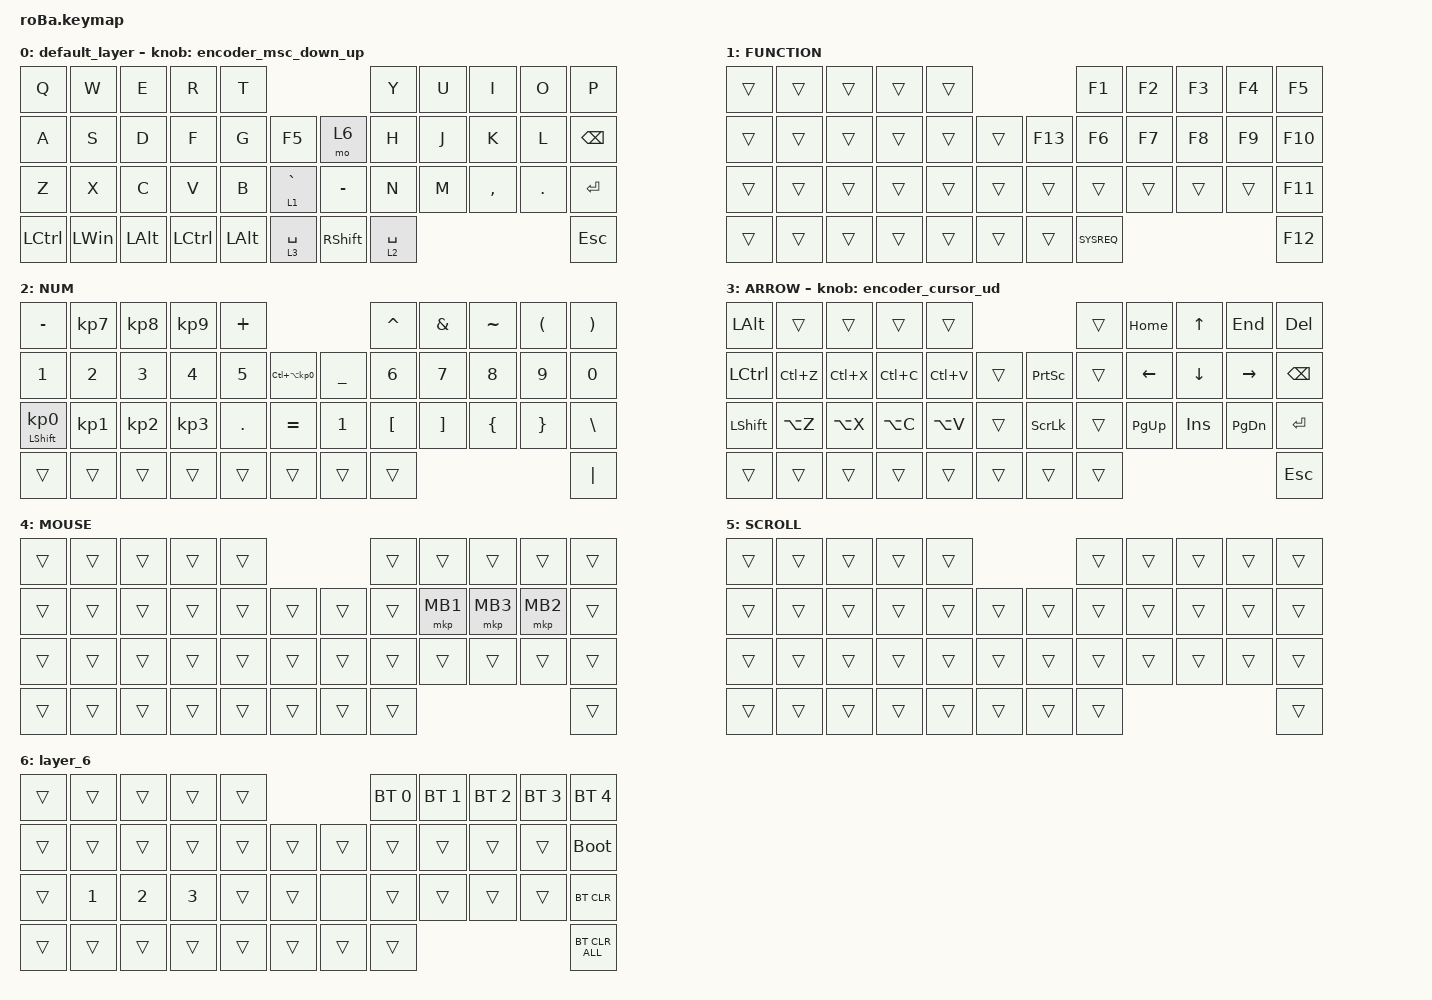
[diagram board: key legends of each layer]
#include <behaviors.dtsi>
#include <dt-bindings/zmk/bt.h>
#include <dt-bindings/zmk/keys.h>
#include <dt-bindings/zmk/pointing.h>

#define ZMK_POINTING_DEFAULT_SCRL_VAL 80

&mt {
    flavor = "balanced";
    quick-tap-ms = <0>;
};

&trackball {
    automouse-layer = <4>;
    scroll-layers = <5>;

    arrows {
        layers = <3>;
        bindings =
            <&kp RIGHT_ARROW>,
            <&kp LEFT_ARROW>,
            <&kp UP_ARROW>,
            <&kp DOWN_ARROW>;
        tick = <10>;
        wait-ms = <5>;
        tap-ms = <5>;
    };
};

/ {
    combos {
        compatible = "zmk,combos";

        tab {
            bindings = <&kp TAB>;
            key-positions = <11 12>;
        };

        shift_tab {
            bindings = <&kp LS(TAB)>;
            key-positions = <12 13>;
        };

        muhennkann {
            bindings = <&to_layer_0 INT_MUHENKAN>;
            key-positions = <11 10>;
        };

        double_quotation {
            bindings = <&kp DOUBLE_QUOTES>;
            key-positions = <20 21>;
        };

        eq {
            bindings = <&kp EQUAL>;
            key-positions = <24 25>;
        };

        ime {
            bindings = <&kp LA(GRAVE)>;
            key-positions = <16 28>;
        };
    };

    macros {
        to_layer_0: to_layer_0 {
            compatible = "zmk,behavior-macro-one-param";
            #binding-cells = <1>;
            bindings = <&to 0 &macro_param_1to1 &kp MACRO_PLACEHOLDER>;
            label = "TO_LAYER_0";
        };
    };

    behaviors {
        lt_to_layer_0: lt_to_layer_0 {
            compatible = "zmk,behavior-hold-tap";
            label = "LAYER_TAP_TO_0";
            bindings = <&mo>, <&to_layer_0>;

            #binding-cells = <2>;
            tapping-term-ms = <200>;
        };
        encoder_msc_down_up: encoder_msc_down_up {
            compatible = "zmk,behavior-sensor-rotate";
            label = "ENCODER_MSC_DOWN_UP";
            #sensor-binding-cells = <0>;
            bindings = <&msc SCRL_DOWN>, <&msc SCRL_UP>;
            tap-ms = <20>;
        };
        encoder_cursor_ud: encoder_cursor_ud {
            compatible = "zmk,behavior-sensor-rotate";
            label = "ENCODER_CURSOR_UP_DOWN";
            #sensor-binding-cells = <0>;
            bindings = <&kp UP_ARROW>, <&kp DOWN_ARROW>;
            tap-ms = <20>;
        };
        encoder_cursor_lr: encoder_cursor_lr {
            compatible = "zmk,behavior-sensor-rotate";
            label = "ENCODER_CURSOR_LEFT_RIGHT";
            #sensor-binding-cells = <0>;
            bindings = <&kp RIGHT_ARROW>, <&kp LEFT_ARROW>;
            tap-ms = <20>;
        };
    };

    keymap {
        compatible = "zmk,keymap";

        default_layer {
            bindings = <
&kp Q      &kp W         &kp E         &kp R             &kp T                                           &kp Y        &kp U  &kp I      &kp O    &kp P
&kp A      &kp S         &kp D         &kp F             &kp G         &kp F5           &mo 6            &kp H        &kp J  &kp K      &kp L    &kp BACKSPACE
&kp Z      &kp X         &kp C         &kp V             &kp B         &lt 1 GRAVE      &kp MINUS        &kp N        &kp M  &kp COMMA  &kp DOT  &kp ENTER
&kp LCTRL  &kp LEFT_WIN  &kp LEFT_ALT  &kp LEFT_CONTROL  &kp LEFT_ALT  &lt 3 SPACE      &kp RIGHT_SHIFT  &lt 2 SPACE                             &kp ESCAPE
            >;
            // default pg_up-down
            // sensor-bindings = <&inc_dec_kp PG_UP PAGE_DOWN>;
            sensor-bindings = <&encoder_msc_down_up>;
        };

        FUNCTION {
            bindings = <
&trans  &trans  &trans  &trans  &trans                       &kp F1      &kp F2  &kp F3  &kp F4  &kp F5
&trans  &trans  &trans  &trans  &trans  &trans      &kp F13  &kp F6      &kp F7  &kp F8  &kp F9  &kp F10
&trans  &trans  &trans  &trans  &trans  &trans      &trans   &trans      &trans  &trans  &trans  &kp F11
&trans  &trans  &trans  &trans  &trans  &trans      &trans   &kp SYSREQ                          &kp F12
            >;
        };

        NUM {
            bindings = <
&kp MINUS                   &kp KP_NUMBER_7  &kp KP_NUMBER_8  &kp KP_NUMBER_9  &kp PLUS                                                 &kp CARET         &kp AMPERSAND      &kp TILDE       &kp LEFT_PARENTHESIS  &kp RIGHT_PARENTHESIS
&kp NUMBER_1                &kp NUMBER_2     &kp NUMBER_3     &kp NUMBER_4     &kp N5      &kp LC(LA(KP_NUMBER_0))      &kp UNDERSCORE  &kp NUMBER_6      &kp NUMBER_7       &kp NUMBER_8    &kp NUMBER_9          &kp NUMBER_0
&mt LEFT_SHIFT KP_NUMBER_0  &kp KP_NUMBER_1  &kp KP_NUMBER_2  &kp KP_NUMBER_3  &kp PERIOD  &kp EQUAL                    &kp NUMBER_1    &kp LEFT_BRACKET  &kp RIGHT_BRACKET  &kp LEFT_BRACE  &kp RIGHT_BRACE       &kp BACKSLASH
&trans                      &trans           &trans           &trans           &trans      &trans                       &trans          &trans                                                                     &kp PIPE
            >;
        };

        ARROW {
            bindings = <
&kp LEFT_ALT    &trans     &trans     &trans     &trans                                  &trans  &kp HOME        &kp UP_ARROW    &kp END        &kp DELETE
&kp LCTRL       &kp LC(Z)  &kp LC(X)  &kp LC(C)  &kp LC(V)  &trans      &kp PRINTSCREEN  &trans  &kp LEFT_ARROW  &kp DOWN_ARROW  &kp RIGHT      &kp BACKSPACE
&kp LEFT_SHIFT  &kp LA(Z)  &kp LA(X)  &kp LA(C)  &kp LA(V)  &trans      &kp SCROLLLOCK   &trans  &kp PAGE_UP     &kp INSERT      &kp PAGE_DOWN  &kp ENTER
&trans          &trans     &trans     &trans     &trans     &trans      &trans           &trans                                                 &kp ESCAPE
            >;

            sensor-bindings = <&encoder_cursor_ud>;
        };

        MOUSE {
            bindings = <
&trans  &trans  &trans  &trans  &trans                      &trans  &trans    &trans    &trans    &trans
&trans  &trans  &trans  &trans  &trans  &trans      &trans  &trans  &mkp MB1  &mkp MB3  &mkp MB2  &trans
&trans  &trans  &trans  &trans  &trans  &trans      &trans  &trans  &trans    &trans    &trans    &trans
&trans  &trans  &trans  &trans  &trans  &trans      &trans  &trans                                &trans
            >;
        };

        SCROLL {
            bindings = <
&trans  &trans  &trans  &trans  &trans                      &trans  &trans  &trans  &trans  &trans
&trans  &trans  &trans  &trans  &trans  &trans      &trans  &trans  &trans  &trans  &trans  &trans
&trans  &trans  &trans  &trans  &trans  &trans      &trans  &trans  &trans  &trans  &trans  &trans
&trans  &trans  &trans  &trans  &trans  &trans      &trans  &trans                          &trans
            >;
        };

        layer_6 {
            bindings = <
&trans  &trans        &trans        &trans        &trans                      &bt BT_SEL 0  &bt BT_SEL 1  &bt BT_SEL 2  &bt BT_SEL 3  &bt BT_SEL 4
&trans  &trans        &trans        &trans        &trans  &trans      &trans  &trans        &trans        &trans        &trans        &bootloader
&trans  &kp NUMBER_1  &kp NUMBER_2  &kp NUMBER_3  &trans  &trans      &none   &trans        &trans        &trans        &trans        &bt BT_CLR
&trans  &trans        &trans        &trans        &trans  &trans      &trans  &trans                                                  &bt BT_CLR_ALL
            >;
        };
    };
};
